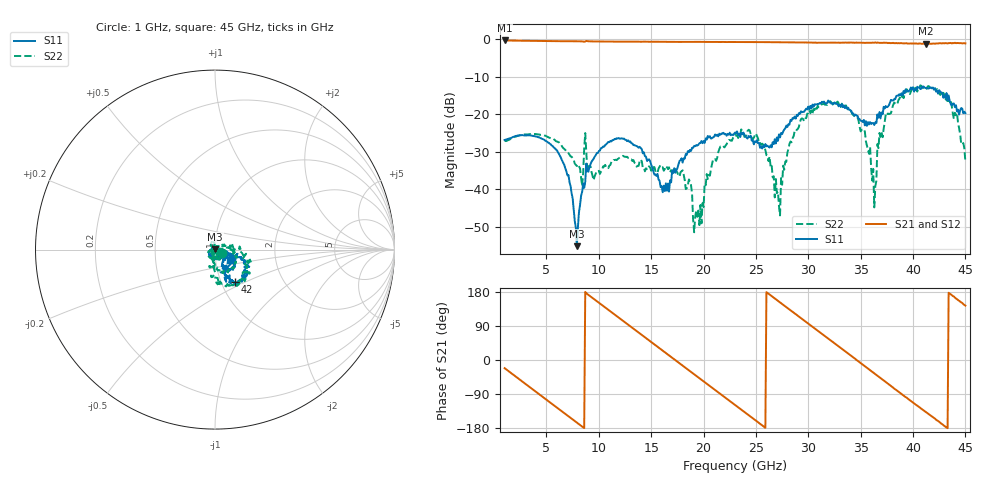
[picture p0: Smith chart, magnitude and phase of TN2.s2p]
!Keysight Technologies,N5247B,MY61255062,A.19.80.06
!Date: Monday, May 18, 2026 12:30:09
!Correction: S11(Cdelta 2-Port  )
!S21(Cdelta 2-Port  )
!S12(Cdelta 2-Port  )
!S22(Cdelta 2-Port  )
!S2P File: Measurements: S11, S21, S12, S22:
# Hz S  dB  R 50
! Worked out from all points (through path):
!   441 points, 1 GHz to 45 GHz, reference 50 ohm
!   highest |S21| = -0.40 dB at 1 GHz (marker M1); lowest = -1.3 dB at 41.2 GHz (marker M2)
!   group delay of S21, straight-line fit = 57.7 ps
!   lowest |S11| = -55.2 dB at 7.9 GHz (marker M3), VSWR 1.00, Z = 50.1 + j0.146 ohm
!   |S11| at or under -10 dB: start of sweep to end of sweep
!   |S22| runs from -51.5 to -12.3 dB; largest |S21 - S12| = 0.018
!   S11 on the Smith chart (normalised r, x): 1 GHz: 1.08, -0.04; 42 GHz: 1.17, -0.44; 45 GHz: 1.18, -0.14
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1e9  -26.89 -26.9  -0.40 -21.5  -0.40 -21.6  -27.12 -29.3
3.6e9  -25.73 -105.0  -0.53 -75.8  -0.53 -75.8  -25.36 -104.3
5.9e9  -29.41 -162.8  -0.60 -123.6  -0.60 -123.6  -27.21 -152.3
7.9e9  -55.15 56.5  -0.62 -165.2  -0.63 -165.2  -33.83 -172.8
8.4e9  -40.75 -9.7  -0.65 -175.7  -0.65 -175.7  -39.12 -172.5
1.23e10  -26.57 -102.2  -0.73 103.7  -0.73 103.7  -31.11 -128.2
1.57e10  -37.43 -111.4  -0.75 32.9  -0.75 32.9  -34.53 -126.9
1.8e10  -32.92 -39.1  -0.79 -14.7  -0.80 -14.7  -34.98 -133.5
1.92e10  -28.54 -42.1  -0.79 -39.5  -0.79 -39.5  -47.34 -172.3
2.3e10  -24.91 -62.3  -0.82 -118.5  -0.82 -118.5  -25.48 -52.3
2.51e10  -26.98 -61.8  -0.84 -162.2  -0.85 -162.3  -25.86 -93.2
2.72e10  -25.39 -13.0  -0.89 154.0  -0.88 154.0  -44.53 103.6
2.83e10  -21.54 -17.6  -0.91 131.1  -0.91 131.1  -27.29 29.8
3.04e10  -17.48 -30.5  -0.98 87.6  -0.96 87.5  -19.85 -11.9
3.46e10  -20.37 -63.0  -0.96 0.1  -1.00 0.3  -20.58 -91.6
3.63e10  -22.89 -24.2  -1.01 -35.5  -1.04 -35.2  -44.83 -0.2
3.68e10  -19.48 -16.6  -1.04 -45.5  -1.04 -45.9  -25.01 23.2
3.77e10  -17.64 -19.8  -1.04 -64.6  -1.08 -64.9  -19.97 18.5
4.12e10  -13.04 -47.6  -1.30 -137.1  -1.31 -136.7  -12.88 -52.4
4.2e10  -13.46 -57.7  -1.22 -152.8  -1.22 -153.0  -13.44 -66.7
4.35e10  -16.55 -69.3  -1.10 175.4  -1.15 175.2  -16.70 -98.8
4.5e10  -19.74 -34.1  -1.18 143.5  -1.14 143.3  -32.81 -22.9
